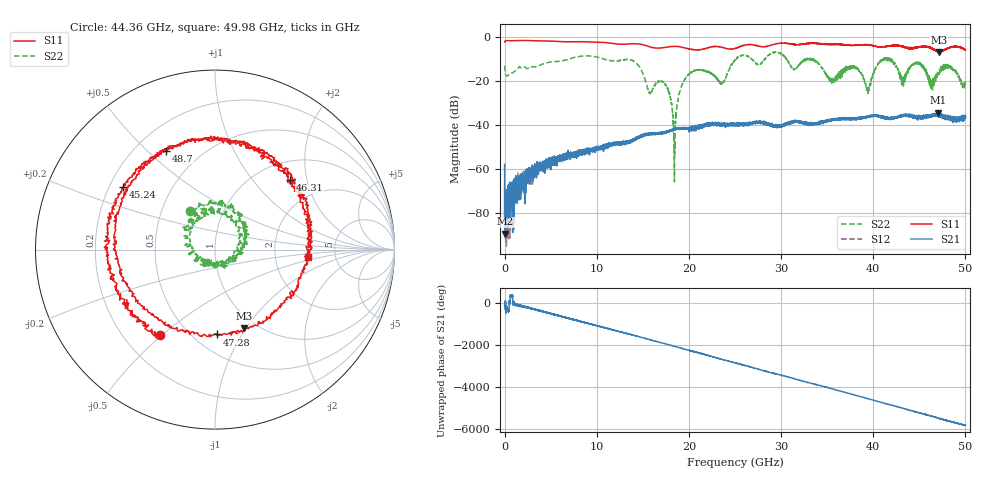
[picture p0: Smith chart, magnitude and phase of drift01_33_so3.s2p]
!Created with skrf (http://scikit-rf.org).
# Hz S RI R 50.0
!freq ReS11 ImS11 ReS21 ImS21 ReS12 ImS12 ReS22 ImS22
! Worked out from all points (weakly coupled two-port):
!   10001 points, 300 kHz to 50 GHz, reference 50 ohm
!   highest |S21| = -34.20 dB at 47.03 GHz (marker M1); lowest = -89.5 dB at 65.3 MHz (marker M2)
!   lowest |S11| = -6.6 dB at 47.15 GHz (marker M3), VSWR 2.76, Z = 43.6 - j49 ohm
!   |S11| at or under -10 dB: nowhere
!   |S22| runs from -65.7 to -6.7 dB; largest |S21 - S12| = 0.0035
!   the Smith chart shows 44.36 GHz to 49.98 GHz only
!   S11 on the Smith chart (normalised r, x): 44.36 GHz: 0.35, -0.49; 45.24 GHz: 0.26, +0.29; 46.31 GHz: 1.39, +1.59; 47.28 GHz: 0.65, -0.79; 48.7 GHz: 0.32, +0.57; 49.98 GHz: 3.14, -0.34
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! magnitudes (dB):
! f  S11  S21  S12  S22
! 300 kHz  -2.1  -57.8  -67.9  -12.9
! 65.3 MHz  -1.6  -89.5  -81.5  -15.7
! 8.335 GHz  -1.9  -51.3  -52.7  -8.5
! 16.67 GHz  -4.8  -43.5  -43.7  -20.0
! 17.74 GHz  -4.4  -43.1  -42.9  -23.9
! 18.44 GHz  -4.1  -41.6  -41.8  -56.5
! 19.86 GHz  -5.1  -41.6  -41.4  -17.3
! 23.6 GHz  -4.5  -40.2  -39.5  -20.7
! 25 GHz  -5.0  -39.8  -39.9  -10.3
! 33.34 GHz  -2.6  -39.9  -39.3  -9.8
! 39.44 GHz  -3.4  -35.9  -36.0  -24.4
! 41.67 GHz  -3.9  -36.8  -36.7  -9.8
! 43.19 GHz  -4.1  -35.5  -35.5  -18.3
! 44.36 GHz  -5.0  -36.0  -35.9  -11.8
! 45.24 GHz  -4.2  -36.3  -36.6  -12.1
! 46.31 GHz  -4.9  -35.6  -35.4  -21.6
! 47.03 GHz  -6.3  -34.2  -35.5  -15.6
! 47.15 GHz  -6.6  -35.0  -35.4  -15.4
! 47.28 GHz  -6.5  -35.1  -35.1  -15.6
! 48.7 GHz  -4.2  -37.1  -37.1  -14.0
! 49.98 GHz  -5.6  -36.5  -36.8  -21.3
! 50 GHz  -5.7  -36.7  -36.2  -21.7
